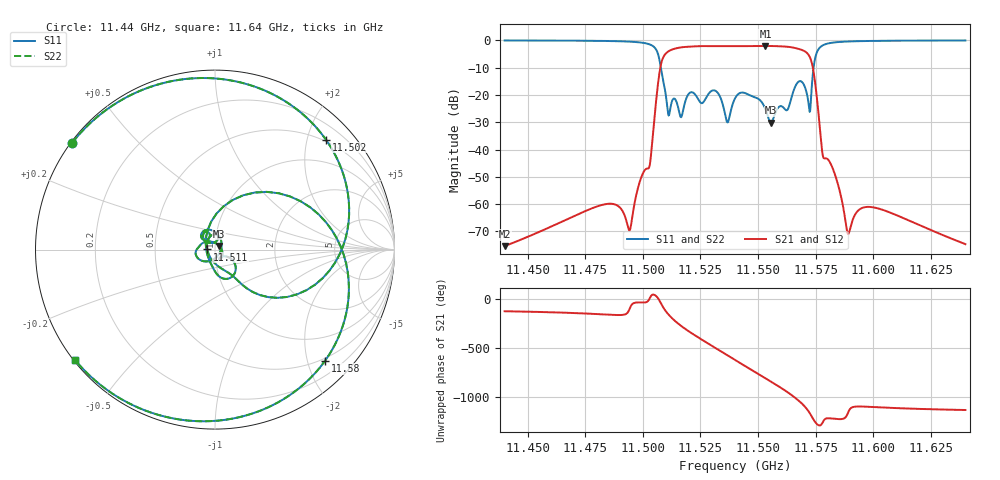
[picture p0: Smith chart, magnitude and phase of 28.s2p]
! This file was generated by CST Filter Designer 3D
! Date:  07.11.2025 16:02:17
# MHZ S RI R 50
!  Frequency  Re(S11)  Im(S11)  Re(S21)  Im(S21)  Re(S12)  Im(S12)  Re(S22)  Im(S22)
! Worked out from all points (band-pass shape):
!   1001 points, 11.44 GHz to 11.64 GHz, reference 50 ohm
!   highest |S21| = -2.07 dB at 11.553 GHz (marker M1); lowest = -75.4 dB at 11.44 GHz (marker M2)
!   |S21| within 3 dB of the highest: 11.51 GHz to 11.572 GHz (61.97 MHz wide, 0.537 % of centre)
!   lowest |S11| = -30.2 dB at 11.556 GHz (marker M3), VSWR 1.06, Z = 52.3 + j2.18 ohm
!   |S11| at or under -10 dB: 11.508 GHz to 11.574 GHz (66.3 MHz wide, 0.574 % of centre)
!   |S22| runs from -30.2 to -0.1 dB; largest |S21 - S12| = 0
!   S11 on the Smith chart (normalised r, x): 11.44 GHz: 0.00, +0.33; 11.502 GHz: 0.46, +2.35; 11.511 GHz: 0.92, +0.00; 11.58 GHz: 0.45, -2.32; 11.64 GHz: 0.00, -0.35
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11440  -0.7943 0.5967  -0.000106 -0.000132  -0.000106 -0.000132  -0.7943 0.5967
11473.4  -0.5177 0.8354  -0.000603 -0.000347  -0.000603 -0.000347  -0.5177 0.8354
11494.2  0.1022 0.94  -9.95e-05 -0.000311  -9.95e-05 -0.000311  0.1022 0.94
11501.8  0.6175 0.6132  0.00372 -0.00249  0.00372 -0.00249  0.6175 0.6132
11506.8  0.4586 -0.2488  0.1895 -0.0158  0.1895 -0.0158  0.4586 -0.2488
11511.4  -0.043 0.000802  -0.627 -0.1209  -0.627 -0.1209  -0.043 0.000802
11516.2  -0.000681 0.0411  0.000698 0.738  0.000698 0.738  -0.000681 0.0411
11521.4  -0.0522 0.0989  0.7667 0.0683  0.7667 0.0683  -0.0522 0.0989
11528.6  -0.0777 0.0718  -0.1324 -0.7716  -0.1324 -0.7716  -0.0777 0.0718
11534.4  0.0272 0.0684  -0.7823 0.0235  -0.7823 0.0235  0.0272 0.0684
11540  -0.0555 -0.0659  -0.1087 0.7739  -0.1087 0.7739  -0.0555 -0.0659
11546.8  -0.0968 0.00693  0.7846 0.0188  0.7846 0.0188  -0.0968 0.00693
11553.2  -0.03 0.0457  0.0231 -0.7874  0.0231 -0.7874  -0.03 0.0457
11555.6  0.0229 0.0208  -0.418 -0.6661  -0.418 -0.6661  0.0229 0.0208
11560.2  0.0274 -0.0556  -0.7657 0.1185  -0.7657 0.1185  0.0274 -0.0556
11564.8  0.0858 -0.0484  -0.0965 0.7355  -0.0965 0.7355  0.0858 -0.0484
11569.4  0.0438 -0.1607  0.6512 0.0809  0.6512 0.0809  0.0438 -0.1607
11573.4  -0.0205 0.1571  -0.1811 -0.3293  -0.1811 -0.3293  -0.0205 0.1571
11580.2  0.6123 -0.6205  -0.00456 -0.00486  -0.00456 -0.00486  0.6123 -0.6205
11589.2  0.034 -0.9511  9.92e-05 -0.000265  9.92e-05 -0.000265  0.034 -0.9511
11606.8  -0.4811 -0.8552  0.000635 -0.000326  0.000635 -0.000326  -0.4811 -0.8552
11640  -0.7808 -0.6135  0.00012 -0.000141  0.00012 -0.000141  -0.7808 -0.6135
